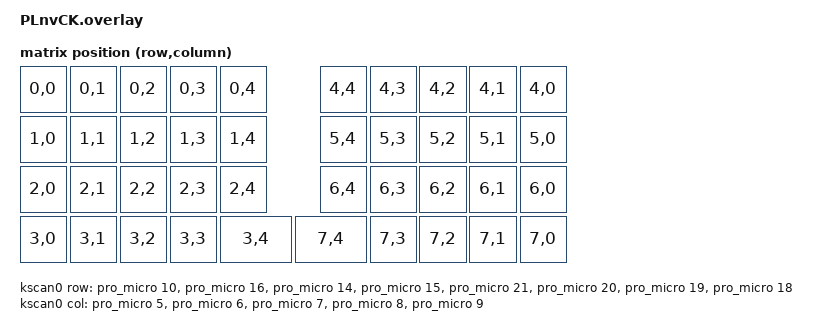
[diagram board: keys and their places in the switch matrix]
/*
 * Copyright (c) 2020 The ZMK Contributors
 *
 * SPDX-License-Identifier: MIT
 */

#include <dt-bindings/zmk/matrix_transform.h>
#include <physical_layouts.dtsi>


/ {
    chosen {
        // zmk,kscan = &kscan0;
        // zmk,matrix-transform = &default_transform;
        zmk,physical-layout = &default_layout;
    };

    default_layout: default_layout {
        compatible = "zmk,physical-layout";
        display-name = "Default Layout";
        transform = <&default_transform>;
        kscan = <&kscan0>;

                keys  //             w   h    x    y     rot    rx    ry
            = <&key_physical_attrs 100 100    0    0       0     0     0>
            , <&key_physical_attrs 100 100  100    0       0     0     0>
            , <&key_physical_attrs 100 100  200    0       0     0     0>
            , <&key_physical_attrs 100 100  300    0       0     0     0>
            , <&key_physical_attrs 100 100  400    0       0     0     0>
            , <&key_physical_attrs 100 100  600    0       0     0     0>
            , <&key_physical_attrs 100 100  700    0       0     0     0>
            , <&key_physical_attrs 100 100  800    0       0     0     0>
            , <&key_physical_attrs 100 100  900    0       0     0     0>
            , <&key_physical_attrs 100 100 1000    0       0     0     0>
            , <&key_physical_attrs 100 100    0  100       0     0     0>
            , <&key_physical_attrs 100 100  100  100       0     0     0>
            , <&key_physical_attrs 100 100  200  100       0     0     0>
            , <&key_physical_attrs 100 100  300  100       0     0     0>
            , <&key_physical_attrs 100 100  400  100       0     0     0>
            , <&key_physical_attrs 100 100  600  100       0     0     0>
            , <&key_physical_attrs 100 100  700  100       0     0     0>
            , <&key_physical_attrs 100 100  800  100       0     0     0>
            , <&key_physical_attrs 100 100  900  100       0     0     0>
            , <&key_physical_attrs 100 100 1000  100       0     0     0>
            , <&key_physical_attrs 100 100    0  200       0     0     0>
            , <&key_physical_attrs 100 100  100  200       0     0     0>
            , <&key_physical_attrs 100 100  200  200       0     0     0>
            , <&key_physical_attrs 100 100  300  200       0     0     0>
            , <&key_physical_attrs 100 100  400  200       0     0     0>
            , <&key_physical_attrs 100 100  600  200       0     0     0>
            , <&key_physical_attrs 100 100  700  200       0     0     0>
            , <&key_physical_attrs 100 100  800  200       0     0     0>
            , <&key_physical_attrs 100 100  900  200       0     0     0>
            , <&key_physical_attrs 100 100 1000  200       0     0     0>
            , <&key_physical_attrs 100 100    0  300       0     0     0>
            , <&key_physical_attrs 100 100  100  300       0     0     0>
            , <&key_physical_attrs 100 100  200  300       0     0     0>
            , <&key_physical_attrs 100 100  300  300       0     0     0>
            , <&key_physical_attrs 150 100  400  300       0     0     0>
            , <&key_physical_attrs 150 100  550  300       0     0     0>
            , <&key_physical_attrs 100 100  700  300       0     0     0>
            , <&key_physical_attrs 100 100  800  300       0     0     0>
            , <&key_physical_attrs 100 100  900  300       0     0     0>
            , <&key_physical_attrs 100 100 1000  300       0     0     0>
            ;

    };

    default_transform: keymap_transform_0 {
        compatible = "zmk,matrix-transform";
        columns = <5>;
        rows = <8>;

        map = <
RC(0,0) RC(0,1) RC(0,2) RC(0,3) RC(0,4) RC(4,4) RC(4,3) RC(4,2) RC(4,1) RC(4,0)
RC(1,0) RC(1,1) RC(1,2) RC(1,3) RC(1,4) RC(5,4) RC(5,3) RC(5,2) RC(5,1) RC(5,0)
RC(2,0) RC(2,1) RC(2,2) RC(2,3) RC(2,4) RC(6,4) RC(6,3) RC(6,2) RC(6,1) RC(6,0)
RC(3,0) RC(3,1) RC(3,2) RC(3,3) RC(3,4) RC(7,4) RC(7,3) RC(7,2) RC(7,1) RC(7,0)
        >;
    };

    kscan0: kscan_0 {
        compatible = "zmk,kscan-gpio-matrix";
        wakeup-source;
        diode-direction = "col2row";

        col-gpios
            = <&pro_micro 5 GPIO_ACTIVE_HIGH>
            , <&pro_micro 6 GPIO_ACTIVE_HIGH>
            , <&pro_micro 7 GPIO_ACTIVE_HIGH>
            , <&pro_micro 8 GPIO_ACTIVE_HIGH>
            , <&pro_micro 9 GPIO_ACTIVE_HIGH>
            ;

        row-gpios
            = <&pro_micro 10 (GPIO_ACTIVE_HIGH | GPIO_PULL_DOWN)>
            , <&pro_micro 16 (GPIO_ACTIVE_HIGH | GPIO_PULL_DOWN)>
            , <&pro_micro 14 (GPIO_ACTIVE_HIGH | GPIO_PULL_DOWN)>
            , <&pro_micro 15 (GPIO_ACTIVE_HIGH | GPIO_PULL_DOWN)>
            , <&pro_micro 21 (GPIO_ACTIVE_HIGH | GPIO_PULL_DOWN)>
            , <&pro_micro 20 (GPIO_ACTIVE_HIGH | GPIO_PULL_DOWN)>
            , <&pro_micro 19 (GPIO_ACTIVE_HIGH | GPIO_PULL_DOWN)>
            , <&pro_micro 18 (GPIO_ACTIVE_HIGH | GPIO_PULL_DOWN)>
            ;
    };
};
